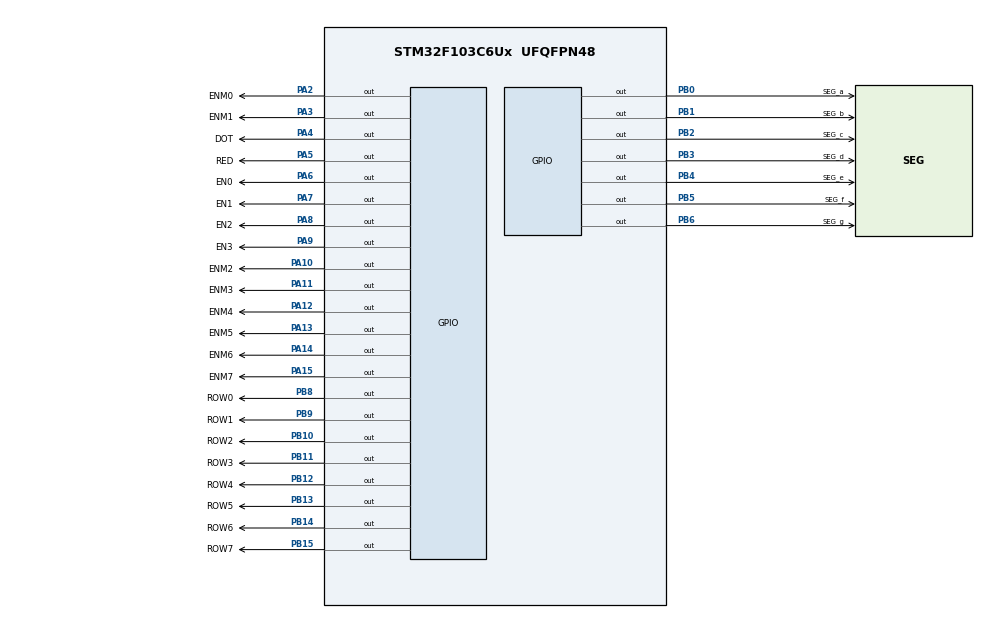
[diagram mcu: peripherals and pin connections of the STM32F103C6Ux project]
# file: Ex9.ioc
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Mcu.Family=STM32F1
Mcu.Name=STM32F103C6Ux
Mcu.Package=UFQFPN48
NVIC.PriorityGroup=NVIC_PRIORITYGROUP_4
NVIC.TIM2_IRQn=true\:0\:0\:false\:false\:true\:true\:true
PA10.GPIO_Label=ENM2
PA10.Signal=GPIO_Output
PA11.GPIO_Label=ENM3
PA11.Signal=GPIO_Output
PA12.GPIO_Label=ENM4
PA12.Signal=GPIO_Output
PA13.GPIO_Label=ENM5
PA13.Signal=GPIO_Output
PA14.GPIO_Label=ENM6
PA14.Signal=GPIO_Output
PA15.GPIO_Label=ENM7
PA15.Signal=GPIO_Output
PA2.GPIO_Label=ENM0
PA2.Signal=GPIO_Output
PA3.GPIO_Label=ENM1
PA3.Signal=GPIO_Output
PA4.GPIO_Label=DOT
PA4.Signal=GPIO_Output
PA5.GPIO_Label=RED
PA5.Signal=GPIO_Output
PA6.GPIO_Label=EN0
PA6.Signal=GPIO_Output
PA7.GPIO_Label=EN1
PA7.Signal=GPIO_Output
PA8.GPIO_Label=EN2
PA8.Signal=GPIO_Output
PA9.GPIO_Label=EN3
PA9.Signal=GPIO_Output
PB0.GPIO_Label=SEG_a
PB0.Signal=GPIO_Output
PB1.GPIO_Label=SEG_b
PB1.Signal=GPIO_Output
PB10.GPIO_Label=ROW2
PB10.Signal=GPIO_Output
PB11.GPIO_Label=ROW3
PB11.Signal=GPIO_Output
PB12.GPIO_Label=ROW4
PB12.Signal=GPIO_Output
PB13.GPIO_Label=ROW5
PB13.Signal=GPIO_Output
PB14.GPIO_Label=ROW6
PB14.Signal=GPIO_Output
PB15.GPIO_Label=ROW7
PB15.Signal=GPIO_Output
PB2.GPIO_Label=SEG_c
PB2.Signal=GPIO_Output
PB3.GPIO_Label=SEG_d
PB3.Signal=GPIO_Output
PB4.GPIO_Label=SEG_e
PB4.Signal=GPIO_Output
PB5.GPIO_Label=SEG_f
PB5.Signal=GPIO_Output
PB6.GPIO_Label=SEG_g
PB6.Signal=GPIO_Output
PB8.GPIO_Label=ROW0
PB8.Signal=GPIO_Output
PB9.GPIO_Label=ROW1
PB9.Signal=GPIO_Output
ProjectManager.HeapSize=0x200
ProjectManager.StackSize=0x400
ProjectManager.TargetToolchain=STM32CubeIDE
RCC.APB1Freq_Value=8000000
RCC.APB2Freq_Value=8000000
TIM2.Period=9
TIM2.Prescaler=7999
VP_SYS_VS_ND.Mode=No_Debug
VP_TIM2_VS_ClockSourceINT.Mode=Internal
board=custom

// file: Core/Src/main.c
/* USER CODE BEGIN Header */
/**
  ******************************************************************************
  * @file           : main.c
  * @brief          : Main program body
  ******************************************************************************
  * @attention
  *
  * <h2><center>&copy; Copyright (c) 2022 STMicroelectronics.
  * All rights reserved.</center></h2>
  *
  * This software component is licensed by ST under BSD 3-Clause license,
  * the "License"; You may not use this file except in compliance with the
  * License. You may obtain a copy of the License at:
  *                        opensource.org/licenses/BSD-3-Clause
  *
  ******************************************************************************
  */
/* USER CODE END Header */
#include "main.h"

TIM_HandleTypeDef htim2;

void SystemClock_Config(void);
static void MX_GPIO_Init(void);
static void MX_TIM2_Init(void);

/* USER CODE BEGIN 0 */
void display7SEG(int num){
	  if(num == 0){
		  HAL_GPIO_WritePin(SEG_a_GPIO_Port, SEG_a_Pin, RESET);
		  HAL_GPIO_WritePin(SEG_b_GPIO_Port, SEG_b_Pin, RESET);
		  HAL_GPIO_WritePin(SEG_c_GPIO_Port, SEG_c_Pin, RESET);
		  HAL_GPIO_WritePin(SEG_d_GPIO_Port, SEG_d_Pin, RESET);
		  HAL_GPIO_WritePin(SEG_e_GPIO_Port, SEG_e_Pin, RESET);
		  HAL_GPIO_WritePin(SEG_f_GPIO_Port, SEG_f_Pin, RESET);
		  HAL_GPIO_WritePin(SEG_g_GPIO_Port, SEG_g_Pin, SET);
	  }
	  if(num == 1){
		  HAL_GPIO_WritePin(SEG_a_GPIO_Port, SEG_a_Pin, SET);
		  HAL_GPIO_WritePin(SEG_b_GPIO_Port, SEG_b_Pin, RESET);
		  HAL_GPIO_WritePin(SEG_c_GPIO_Port, SEG_c_Pin, RESET);
		  HAL_GPIO_WritePin(SEG_d_GPIO_Port, SEG_d_Pin, SET);
		  HAL_GPIO_WritePin(SEG_e_GPIO_Port, SEG_e_Pin, SET);
		  HAL_GPIO_WritePin(SEG_f_GPIO_Port, SEG_f_Pin, SET);
		  HAL_GPIO_WritePin(SEG_g_GPIO_Port, SEG_g_Pin, SET);
	  }
	  if(num == 2){
		  HAL_GPIO_WritePin(SEG_a_GPIO_Port, SEG_a_Pin, RESET);
		  HAL_GPIO_WritePin(SEG_b_GPIO_Port, SEG_b_Pin, RESET);
		  HAL_GPIO_WritePin(SEG_c_GPIO_Port, SEG_c_Pin, SET);
		  HAL_GPIO_WritePin(SEG_d_GPIO_Port, SEG_d_Pin, RESET);
		  HAL_GPIO_WritePin(SEG_e_GPIO_Port, SEG_e_Pin, RESET);
		  HAL_GPIO_WritePin(SEG_f_GPIO_Port, SEG_f_Pin, SET);
		  HAL_GPIO_WritePin(SEG_g_GPIO_Port, SEG_g_Pin, RESET);
	  }
	  if(num == 3){
		  HAL_GPIO_WritePin(SEG_a_GPIO_Port, SEG_a_Pin, RESET);
		  HAL_GPIO_WritePin(SEG_b_GPIO_Port, SEG_b_Pin, RESET);
		  HAL_GPIO_WritePin(SEG_c_GPIO_Port, SEG_c_Pin, RESET);
		  HAL_GPIO_WritePin(SEG_d_GPIO_Port, SEG_d_Pin, RESET);
		  HAL_GPIO_WritePin(SEG_e_GPIO_Port, SEG_e_Pin, SET);
		  HAL_GPIO_WritePin(SEG_f_GPIO_Port, SEG_f_Pin, SET);
		  HAL_GPIO_WritePin(SEG_g_GPIO_Port, SEG_g_Pin, RESET);
	  }
	  if(num == 4){
		  HAL_GPIO_WritePin(SEG_a_GPIO_Port, SEG_a_Pin, SET);
		  HAL_GPIO_WritePin(SEG_b_GPIO_Port, SEG_b_Pin, RESET);
		  HAL_GPIO_WritePin(SEG_c_GPIO_Port, SEG_c_Pin, RESET);
		  HAL_GPIO_WritePin(SEG_d_GPIO_Port, SEG_d_Pin, SET);
		  HAL_GPIO_WritePin(SEG_e_GPIO_Port, SEG_e_Pin, SET);
		  HAL_GPIO_WritePin(SEG_f_GPIO_Port, SEG_f_Pin, RESET);
		  HAL_GPIO_WritePin(SEG_g_GPIO_Port, SEG_g_Pin, RESET);
	  }
	  if(num == 5){
		  HAL_GPIO_WritePin(SEG_a_GPIO_Port, SEG_a_Pin, RESET);
		  HAL_GPIO_WritePin(SEG_b_GPIO_Port, SEG_b_Pin, SET);
		  HAL_GPIO_WritePin(SEG_c_GPIO_Port, SEG_c_Pin, RESET);
		  HAL_GPIO_WritePin(SEG_d_GPIO_Port, SEG_d_Pin, RESET);
		  HAL_GPIO_WritePin(SEG_e_GPIO_Port, SEG_e_Pin, SET);
		  HAL_GPIO_WritePin(SEG_f_GPIO_Port, SEG_f_Pin, RESET);
		  HAL_GPIO_WritePin(SEG_g_GPIO_Port, SEG_g_Pin, RESET);
	  }
	  if(num == 6){
		  HAL_GPIO_WritePin(SEG_a_GPIO_Port, SEG_a_Pin, RESET);
		  HAL_GPIO_WritePin(SEG_b_GPIO_Port, SEG_b_Pin, SET);
		  HAL_GPIO_WritePin(SEG_c_GPIO_Port, SEG_c_Pin, RESET);
		  HAL_GPIO_WritePin(SEG_d_GPIO_Port, SEG_d_Pin, RESET);
		  HAL_GPIO_WritePin(SEG_e_GPIO_Port, SEG_e_Pin, RESET);
		  HAL_GPIO_WritePin(SEG_f_GPIO_Port, SEG_f_Pin, RESET);
		  HAL_GPIO_WritePin(SEG_g_GPIO_Port, SEG_g_Pin, RESET);
	  }
	  if(num == 7){
		  HAL_GPIO_WritePin(SEG_a_GPIO_Port, SEG_a_Pin, RESET);
		  HAL_GPIO_WritePin(SEG_b_GPIO_Port, SEG_b_Pin, RESET);
		  HAL_GPIO_WritePin(SEG_c_GPIO_Port, SEG_c_Pin, RESET);
		  HAL_GPIO_WritePin(SEG_d_GPIO_Port, SEG_d_Pin, SET);
		  HAL_GPIO_WritePin(SEG_e_GPIO_Port, SEG_e_Pin, SET);
		  HAL_GPIO_WritePin(SEG_f_GPIO_Port, SEG_f_Pin, SET);
		  HAL_GPIO_WritePin(SEG_g_GPIO_Port, SEG_g_Pin, SET);
	  }
	  if(num == 8){
		  HAL_GPIO_WritePin(SEG_a_GPIO_Port, SEG_a_Pin, RESET);
		  HAL_GPIO_WritePin(SEG_b_GPIO_Port, SEG_b_Pin, RESET);
		  HAL_GPIO_WritePin(SEG_c_GPIO_Port, SEG_c_Pin, RESET);
		  HAL_GPIO_WritePin(SEG_d_GPIO_Port, SEG_d_Pin, RESET);
		  HAL_GPIO_WritePin(SEG_e_GPIO_Port, SEG_e_Pin, RESET);
		  HAL_GPIO_WritePin(SEG_f_GPIO_Port, SEG_f_Pin, RESET);
		  HAL_GPIO_WritePin(SEG_g_GPIO_Port, SEG_g_Pin, RESET);
	  }
	  if(num == 9){
		  HAL_GPIO_WritePin(SEG_a_GPIO_Port, SEG_a_Pin, RESET);
		  HAL_GPIO_WritePin(SEG_b_GPIO_Port, SEG_b_Pin, RESET);
		  HAL_GPIO_WritePin(SEG_c_GPIO_Port, SEG_c_Pin, RESET);
		  HAL_GPIO_WritePin(SEG_d_GPIO_Port, SEG_d_Pin, RESET);
		  HAL_GPIO_WritePin(SEG_e_GPIO_Port, SEG_e_Pin, SET);
		  HAL_GPIO_WritePin(SEG_f_GPIO_Port, SEG_f_Pin, RESET);
		  HAL_GPIO_WritePin(SEG_g_GPIO_Port, SEG_g_Pin, RESET);
	  }
}
const int MAX_LED = 4;
int index_led = 0;
int led_buffer [4] = {1 , 2 , 3 , 4};
void update7SEG(int index){
	index = index % MAX_LED;
	switch(index){
	case 0:
		HAL_GPIO_WritePin(EN1_GPIO_Port, EN1_Pin, SET);
		HAL_GPIO_WritePin(EN2_GPIO_Port, EN2_Pin, SET);
		HAL_GPIO_WritePin(EN3_GPIO_Port, EN3_Pin, SET);
		display7SEG(led_buffer[0]);
		HAL_GPIO_WritePin(EN0_GPIO_Port, EN0_Pin, RESET);
		break;
	case 1:
		HAL_GPIO_WritePin(EN0_GPIO_Port, EN0_Pin, SET);
		HAL_GPIO_WritePin(EN2_GPIO_Port, EN2_Pin, SET);
		HAL_GPIO_WritePin(EN3_GPIO_Port, EN3_Pin, SET);
		display7SEG(led_buffer[1]);
		HAL_GPIO_WritePin(EN1_GPIO_Port, EN1_Pin, RESET);
		break;
	case 2:
		HAL_GPIO_WritePin(EN0_GPIO_Port, EN0_Pin, SET);
		HAL_GPIO_WritePin(EN1_GPIO_Port, EN1_Pin, SET);
		HAL_GPIO_WritePin(EN3_GPIO_Port, EN3_Pin, SET);
		display7SEG(led_buffer[2]);
		HAL_GPIO_WritePin(EN2_GPIO_Port, EN2_Pin, RESET);
		break;
	case 3:
		HAL_GPIO_WritePin(EN0_GPIO_Port, EN0_Pin, SET);
		HAL_GPIO_WritePin(EN1_GPIO_Port, EN1_Pin, SET);
		HAL_GPIO_WritePin(EN2_GPIO_Port, EN2_Pin, SET);
		display7SEG(led_buffer[3]);
		HAL_GPIO_WritePin(EN3_GPIO_Port, EN3_Pin, RESET);
		break;
	default:
		index = 0;
		break;
	}
}
void updateClockBuffer(int hour, int minute, int* led_buffer){
	led_buffer[0] = hour / 10;
	led_buffer[1] = hour % 10;
	led_buffer[2] = minute / 10;
	led_buffer[3] = minute % 10;
}

uint8_t matrix_buffer[8] = {0x18,0x3C,0x66,0x66,0x7E,0x66,0x66,0x66};
int rowBuffer[8] ={1,1,1,1,1,1,1,1};
int offset = 0;
/*
 * offset is used to move character on Led Matrix
 *
 * */
void updateRowSignal(int index, int offset){
	/*
	 * Extract digit from buffer to feed rowBuffer to control row's signal
	 * Ex: 12345678
	 * rowBuffer[0] = 1
	 * rowBuffer[1] = 2
	 * ...
	 * rowBuffer[7] = 8
	 */
	rowBuffer[0] = ((matrix_buffer[index] >> (7+offset)) & 1);
	rowBuffer[1] = ((matrix_buffer[index] >> (6+offset)) & 1);
	rowBuffer[2] = ((matrix_buffer[index] >> (5+offset)) & 1);
	rowBuffer[3] = ((matrix_buffer[index] >> (4+offset)) & 1);
	rowBuffer[4] = ((matrix_buffer[index] >> (3+offset)) & 1);
	rowBuffer[5] = ((matrix_buffer[index] >> (2+offset)) & 1);
	rowBuffer[6] = ((matrix_buffer[index] >> (1+offset)) & 1);
	rowBuffer[7] = ((matrix_buffer[index] >> (0+offset)) & 1);
}
void displayRowSignal(int* rowBuffer){
	if(rowBuffer[0] == 0){
		HAL_GPIO_WritePin(ROW0_GPIO_Port, ROW0_Pin, SET);
	}
	else{
		HAL_GPIO_WritePin(ROW0_GPIO_Port, ROW0_Pin, RESET);
	}
	if(rowBuffer[1] == 0){
		HAL_GPIO_WritePin(ROW1_GPIO_Port, ROW1_Pin, SET);
	}
	else{
		HAL_GPIO_WritePin(ROW1_GPIO_Port, ROW1_Pin, RESET);
	}
	if(rowBuffer[2] == 0){
		HAL_GPIO_WritePin(ROW2_GPIO_Port, ROW2_Pin, SET);
	}
	else{
		HAL_GPIO_WritePin(ROW2_GPIO_Port, ROW2_Pin, RESET);
	}
	if(rowBuffer[3] == 0){
		HAL_GPIO_WritePin(ROW3_GPIO_Port, ROW3_Pin, SET);
	}
	else{
		HAL_GPIO_WritePin(ROW3_GPIO_Port, ROW3_Pin, RESET);
	}
	if(rowBuffer[4] == 0){
		HAL_GPIO_WritePin(ROW4_GPIO_Port, ROW4_Pin, SET);
	}
	else{
		HAL_GPIO_WritePin(ROW4_GPIO_Port, ROW4_Pin, RESET);
	}
	if(rowBuffer[5] == 0){
		HAL_GPIO_WritePin(ROW5_GPIO_Port, ROW5_Pin, SET);
	}
	else{
		HAL_GPIO_WritePin(ROW5_GPIO_Port, ROW5_Pin, RESET);
	}
	if(rowBuffer[6] == 0){
		HAL_GPIO_WritePin(ROW6_GPIO_Port, ROW6_Pin, SET);
	}
	else{
		HAL_GPIO_WritePin(ROW6_GPIO_Port, ROW6_Pin, RESET);
	}
	if(rowBuffer[7] == 0){
		HAL_GPIO_WritePin(ROW7_GPIO_Port, ROW7_Pin, SET);
	}
	else{
		HAL_GPIO_WritePin(ROW7_GPIO_Port, ROW7_Pin, RESET);
	}
}
void updateLEDMaxtrix(int index, int offset){
	switch(index){
	case 0:
		/*Set signal for row than enable col to display*/
		updateRowSignal(index,offset);
		displayRowSignal(rowBuffer);
		HAL_GPIO_WritePin(ENM0_GPIO_Port, ENM0_Pin, RESET);
		HAL_GPIO_WritePin(ENM1_GPIO_Port, ENM1_Pin, SET);
		HAL_GPIO_WritePin(ENM2_GPIO_Port, ENM2_Pin, SET);
		HAL_GPIO_WritePin(ENM3_GPIO_Port, ENM3_Pin, SET);
		HAL_GPIO_WritePin(ENM4_GPIO_Port, ENM4_Pin, SET);
		HAL_GPIO_WritePin(ENM5_GPIO_Port, ENM5_Pin, SET);
		HAL_GPIO_WritePin(ENM6_GPIO_Port, ENM6_Pin, SET);
		HAL_GPIO_WritePin(ENM7_GPIO_Port, ENM7_Pin, SET);
		break;
	case 1:
		updateRowSignal(index,offset);
		displayRowSignal(rowBuffer);
		HAL_GPIO_WritePin(ENM0_GPIO_Port, ENM0_Pin, SET);
		HAL_GPIO_WritePin(ENM1_GPIO_Port, ENM1_Pin, RESET);
		HAL_GPIO_WritePin(ENM2_GPIO_Port, ENM2_Pin, SET);
		HAL_GPIO_WritePin(ENM3_GPIO_Port, ENM3_Pin, SET);
		HAL_GPIO_WritePin(ENM4_GPIO_Port, ENM4_Pin, SET);
		HAL_GPIO_WritePin(ENM5_GPIO_Port, ENM5_Pin, SET);
		HAL_GPIO_WritePin(ENM6_GPIO_Port, ENM6_Pin, SET);
		HAL_GPIO_WritePin(ENM7_GPIO_Port, ENM7_Pin, SET);
		break;
	case 2:
		updateRowSignal(index,offset);
		displayRowSignal(rowBuffer);
		HAL_GPIO_WritePin(ENM0_GPIO_Port, ENM0_Pin, SET);
		HAL_GPIO_WritePin(ENM1_GPIO_Port, ENM1_Pin, SET);
		HAL_GPIO_WritePin(ENM2_GPIO_Port, ENM2_Pin, RESET);
		HAL_GPIO_WritePin(ENM3_GPIO_Port, ENM3_Pin, SET);
		HAL_GPIO_WritePin(ENM4_GPIO_Port, ENM4_Pin, SET);
		HAL_GPIO_WritePin(ENM5_GPIO_Port, ENM5_Pin, SET);
		HAL_GPIO_WritePin(ENM6_GPIO_Port, ENM6_Pin, SET);
		HAL_GPIO_WritePin(ENM7_GPIO_Port, ENM7_Pin, SET);
		break;
	case 3:
		updateRowSignal(index,offset);
		displayRowSignal(rowBuffer);
		HAL_GPIO_WritePin(ENM0_GPIO_Port, ENM0_Pin, SET);
		HAL_GPIO_WritePin(ENM1_GPIO_Port, ENM1_Pin, SET);
		HAL_GPIO_WritePin(ENM2_GPIO_Port, ENM2_Pin, SET);
		HAL_GPIO_WritePin(ENM3_GPIO_Port, ENM3_Pin, RESET);
		HAL_GPIO_WritePin(ENM4_GPIO_Port, ENM4_Pin, SET);
		HAL_GPIO_WritePin(ENM5_GPIO_Port, ENM5_Pin, SET);
		HAL_GPIO_WritePin(ENM6_GPIO_Port, ENM6_Pin, SET);
		HAL_GPIO_WritePin(ENM7_GPIO_Port, ENM7_Pin, SET);
		break;
	case 4:
		updateRowSignal(index,offset);
		displayRowSignal(rowBuffer);
		HAL_GPIO_WritePin(ENM0_GPIO_Port, ENM0_Pin, SET);
		HAL_GPIO_WritePin(ENM1_GPIO_Port, ENM1_Pin, SET);
		HAL_GPIO_WritePin(ENM2_GPIO_Port, ENM2_Pin, SET);
		HAL_GPIO_WritePin(ENM3_GPIO_Port, ENM3_Pin, SET);
		HAL_GPIO_WritePin(ENM4_GPIO_Port, ENM4_Pin, RESET);
		HAL_GPIO_WritePin(ENM5_GPIO_Port, ENM5_Pin, SET);
		HAL_GPIO_WritePin(ENM6_GPIO_Port, ENM6_Pin, SET);
		HAL_GPIO_WritePin(ENM7_GPIO_Port, ENM7_Pin, SET);
		break;
	case 5:
		updateRowSignal(index,offset);
		displayRowSignal(rowBuffer);
		HAL_GPIO_WritePin(ENM0_GPIO_Port, ENM0_Pin, SET);
		HAL_GPIO_WritePin(ENM1_GPIO_Port, ENM1_Pin, SET);
		HAL_GPIO_WritePin(ENM2_GPIO_Port, ENM2_Pin, SET);
		HAL_GPIO_WritePin(ENM3_GPIO_Port, ENM3_Pin, SET);
		HAL_GPIO_WritePin(ENM4_GPIO_Port, ENM4_Pin, SET);
		HAL_GPIO_WritePin(ENM5_GPIO_Port, ENM5_Pin, RESET);
		HAL_GPIO_WritePin(ENM6_GPIO_Port, ENM6_Pin, SET);
		HAL_GPIO_WritePin(ENM7_GPIO_Port, ENM7_Pin, SET);
		break;
	case 6:
		updateRowSignal(index,offset);
		displayRowSignal(rowBuffer);
		HAL_GPIO_WritePin(ENM0_GPIO_Port, ENM0_Pin, SET);
		HAL_GPIO_WritePin(ENM1_GPIO_Port, ENM1_Pin, SET);
		HAL_GPIO_WritePin(ENM2_GPIO_Port, ENM2_Pin, SET);
		HAL_GPIO_WritePin(ENM3_GPIO_Port, ENM3_Pin, SET);
		HAL_GPIO_WritePin(ENM4_GPIO_Port, ENM4_Pin, SET);
		HAL_GPIO_WritePin(ENM5_GPIO_Port, ENM5_Pin, SET);
		HAL_GPIO_WritePin(ENM6_GPIO_Port, ENM6_Pin, RESET);
		HAL_GPIO_WritePin(ENM7_GPIO_Port, ENM7_Pin, SET);
		break;
	case 7:
		updateRowSignal(index,offset);
		displayRowSignal(rowBuffer);
		HAL_GPIO_WritePin(ENM0_GPIO_Port, ENM0_Pin, SET);
		HAL_GPIO_WritePin(ENM1_GPIO_Port, ENM1_Pin, SET);
		HAL_GPIO_WritePin(ENM2_GPIO_Port, ENM2_Pin, SET);
		HAL_GPIO_WritePin(ENM3_GPIO_Port, ENM3_Pin, SET);
		HAL_GPIO_WritePin(ENM4_GPIO_Port, ENM4_Pin, SET);
		HAL_GPIO_WritePin(ENM5_GPIO_Port, ENM5_Pin, SET);
		HAL_GPIO_WritePin(ENM6_GPIO_Port, ENM6_Pin, SET);
		HAL_GPIO_WritePin(ENM7_GPIO_Port, ENM7_Pin, RESET);
		break;
	default:
		index = 0;
		break;

	}
}
void turnOffCol(){

	HAL_GPIO_WritePin(ENM0_GPIO_Port, ENM0_Pin, SET);
	HAL_GPIO_WritePin(ENM1_GPIO_Port, ENM1_Pin, SET);
	HAL_GPIO_WritePin(ENM2_GPIO_Port, ENM2_Pin, SET);
	HAL_GPIO_WritePin(ENM3_GPIO_Port, ENM3_Pin, SET);
	HAL_GPIO_WritePin(ENM4_GPIO_Port, ENM4_Pin, SET);
	HAL_GPIO_WritePin(ENM5_GPIO_Port, ENM5_Pin, SET);
	HAL_GPIO_WritePin(ENM5_GPIO_Port, ENM5_Pin, SET);
	HAL_GPIO_WritePin(ENM7_GPIO_Port, ENM7_Pin, SET);

}
int timer0_counter = 0;
int timer0_flag = 0;
int timer1_counter = 0;
int timer1_flag = 0;

int TIMER_CYCLE = 10;
void setTimer0(int duration){
	timer0_counter = duration / TIMER_CYCLE;
	timer0_flag = 0;
}
void setTimer1(int duration){
	timer1_counter = duration / TIMER_CYCLE;
	timer1_flag = 0;
}
void timerRun(){
	if(timer0_counter > 0){
		timer0_counter--;
		if(timer0_counter == 0){
			timer0_flag = 1;
		}
	}
	if(timer1_counter > 0){
		timer1_counter--;
		if(timer1_counter == 0){
			timer1_flag = 1;
		}
	}
}

/* USER CODE END 0 */

int main(void)
{

  /* MCU Configuration--------------------------------------------------------*/

  /* Reset of all peripherals, Initializes the Flash interface and the Systick. */
  HAL_Init();

  /* Configure the system clock */
  SystemClock_Config();

  /* Initialize all configured peripherals */
  MX_GPIO_Init();
  MX_TIM2_Init();
  /* USER CODE BEGIN 2 */
  HAL_TIM_Base_Start_IT(&htim2);
  /* USER CODE END 2 */

  /* Infinite loop */
  /* USER CODE BEGIN WHILE */
  int hour = 15, minute = 18, second = 50;
  setTimer0(1000);
  setTimer1(250);
  int indexForMatrix = 0;
  int offsetRemainTime = 3;
  while (1)
  {
	  /*Timer0 for digital clock*/
	  if(timer0_flag == 1){
		  second++;
		  if(second >= 60){
			  second = 0;
			  minute++;
		  }
		  if(minute >= 60){
			  minute = 0;
			  hour++;
		  }
		  if(hour >= 24){
			  hour = 0;
		  }
		  updateClockBuffer(hour, minute, led_buffer);
		  HAL_GPIO_TogglePin(DOT_GPIO_Port, DOT_Pin);
		  HAL_GPIO_TogglePin(RED_GPIO_Port, RED_Pin);
		  setTimer0(1000);
	  }
	  /*Timer1 for Led Matrix*/
	  if(timer1_flag == 1){
		  turnOffCol();
		  indexForMatrix++;
		  indexForMatrix = indexForMatrix%8;
		  if(indexForMatrix == 0)
			  offsetRemainTime--;
		  if(offsetRemainTime == 0){
			  offset++;
			  offsetRemainTime = 2;
		  }
		  if(offset >= 8) offset = -7;
		  updateLEDMaxtrix(indexForMatrix, offset);
//		  index_led++;
//		  update7SEG(index_led);
		  setTimer1(50);
	  }

    /* USER CODE END WHILE */

  }
}

void SystemClock_Config(void)
{
  RCC_OscInitTypeDef RCC_OscInitStruct = {0};
  RCC_ClkInitTypeDef RCC_ClkInitStruct = {0};

  /** Initializes the RCC Oscillators according to the specified parameters
  * in the RCC_OscInitTypeDef structure.
  */
  RCC_OscInitStruct.OscillatorType = RCC_OSCILLATORTYPE_HSI;
  RCC_OscInitStruct.HSIState = RCC_HSI_ON;
  RCC_OscInitStruct.HSICalibrationValue = RCC_HSICALIBRATION_DEFAULT;
  RCC_OscInitStruct.PLL.PLLState = RCC_PLL_NONE;
  if (HAL_RCC_OscConfig(&RCC_OscInitStruct) != HAL_OK)
  {
    Error_Handler();
  }
  /** Initializes the CPU, AHB and APB buses clocks
  */
  RCC_ClkInitStruct.ClockType = RCC_CLOCKTYPE_HCLK|RCC_CLOCKTYPE_SYSCLK
                              |RCC_CLOCKTYPE_PCLK1|RCC_CLOCKTYPE_PCLK2;
  RCC_ClkInitStruct.SYSCLKSource = RCC_SYSCLKSOURCE_HSI;
  RCC_ClkInitStruct.AHBCLKDivider = RCC_SYSCLK_DIV1;
  RCC_ClkInitStruct.APB1CLKDivider = RCC_HCLK_DIV1;
  RCC_ClkInitStruct.APB2CLKDivider = RCC_HCLK_DIV1;

  if (HAL_RCC_ClockConfig(&RCC_ClkInitStruct, FLASH_LATENCY_0) != HAL_OK)
  {
    Error_Handler();
  }
}

static void MX_TIM2_Init(void)
{

  TIM_ClockConfigTypeDef sClockSourceConfig = {0};
  TIM_MasterConfigTypeDef sMasterConfig = {0};

  htim2.Instance = TIM2;
  htim2.Init.Prescaler = 7999;
  htim2.Init.CounterMode = TIM_COUNTERMODE_UP;
  htim2.Init.Period = 9;
  htim2.Init.ClockDivision = TIM_CLOCKDIVISION_DIV1;
  htim2.Init.AutoReloadPreload = TIM_AUTORELOAD_PRELOAD_DISABLE;
  if (HAL_TIM_Base_Init(&htim2) != HAL_OK)
  {
    Error_Handler();
  }
  sClockSourceConfig.ClockSource = TIM_CLOCKSOURCE_INTERNAL;
  if (HAL_TIM_ConfigClockSource(&htim2, &sClockSourceConfig) != HAL_OK)
  {
    Error_Handler();
  }
  sMasterConfig.MasterOutputTrigger = TIM_TRGO_RESET;
  sMasterConfig.MasterSlaveMode = TIM_MASTERSLAVEMODE_DISABLE;
  if (HAL_TIMEx_MasterConfigSynchronization(&htim2, &sMasterConfig) != HAL_OK)
  {
    Error_Handler();
  }

}

static void MX_GPIO_Init(void)
{
  GPIO_InitTypeDef GPIO_InitStruct = {0};

  /* GPIO Ports Clock Enable */
  __HAL_RCC_GPIOA_CLK_ENABLE();
  __HAL_RCC_GPIOB_CLK_ENABLE();

  /*Configure GPIO pin Output Level */
  HAL_GPIO_WritePin(GPIOA, ENM0_Pin|ENM1_Pin|DOT_Pin|RED_Pin
                          |EN0_Pin|EN1_Pin|EN2_Pin|EN3_Pin
                          |ENM2_Pin|ENM3_Pin|ENM4_Pin|ENM5_Pin
                          |ENM6_Pin|ENM7_Pin, GPIO_PIN_RESET);

  /*Configure GPIO pin Output Level */
  HAL_GPIO_WritePin(GPIOB, SEG_a_Pin|SEG_b_Pin|SEG_c_Pin|ROW2_Pin
                          |ROW3_Pin|ROW4_Pin|ROW5_Pin|ROW6_Pin
                          |ROW7_Pin|SEG_d_Pin|SEG_e_Pin|SEG_f_Pin
                          |SEG_g_Pin|ROW0_Pin|ROW1_Pin, GPIO_PIN_RESET);

  /*Configure GPIO pins : ENM0_Pin ENM1_Pin DOT_Pin RED_Pin
                           EN0_Pin EN1_Pin EN2_Pin EN3_Pin
                           ENM2_Pin ENM3_Pin ENM4_Pin ENM5_Pin
                           ENM6_Pin ENM7_Pin */
  GPIO_InitStruct.Pin = ENM0_Pin|ENM1_Pin|DOT_Pin|RED_Pin
                          |EN0_Pin|EN1_Pin|EN2_Pin|EN3_Pin
                          |ENM2_Pin|ENM3_Pin|ENM4_Pin|ENM5_Pin
                          |ENM6_Pin|ENM7_Pin;
  GPIO_InitStruct.Mode = GPIO_MODE_OUTPUT_PP;
  GPIO_InitStruct.Pull = GPIO_NOPULL;
  GPIO_InitStruct.Speed = GPIO_SPEED_FREQ_LOW;
  HAL_GPIO_Init(GPIOA, &GPIO_InitStruct);

  /*Configure GPIO pins : SEG_a_Pin SEG_b_Pin SEG_c_Pin ROW2_Pin
                           ROW3_Pin ROW4_Pin ROW5_Pin ROW6_Pin
                           ROW7_Pin SEG_d_Pin SEG_e_Pin SEG_f_Pin
                           SEG_g_Pin ROW0_Pin ROW1_Pin */
  GPIO_InitStruct.Pin = SEG_a_Pin|SEG_b_Pin|SEG_c_Pin|ROW2_Pin
                          |ROW3_Pin|ROW4_Pin|ROW5_Pin|ROW6_Pin
                          |ROW7_Pin|SEG_d_Pin|SEG_e_Pin|SEG_f_Pin
                          |SEG_g_Pin|ROW0_Pin|ROW1_Pin;
  GPIO_InitStruct.Mode = GPIO_MODE_OUTPUT_PP;
  GPIO_InitStruct.Pull = GPIO_NOPULL;
  GPIO_InitStruct.Speed = GPIO_SPEED_FREQ_LOW;
  HAL_GPIO_Init(GPIOB, &GPIO_InitStruct);

}

/* USER CODE BEGIN 4 */
void HAL_TIM_PeriodElapsedCallback(TIM_HandleTypeDef * htim){
	timerRun();
}
/* USER CODE END 4 */

void Error_Handler(void)
{
  __disable_irq();
  while (1)
  {
  }
}

/************************ (C) COPYRIGHT STMicroelectronics *****END OF FILE****/
